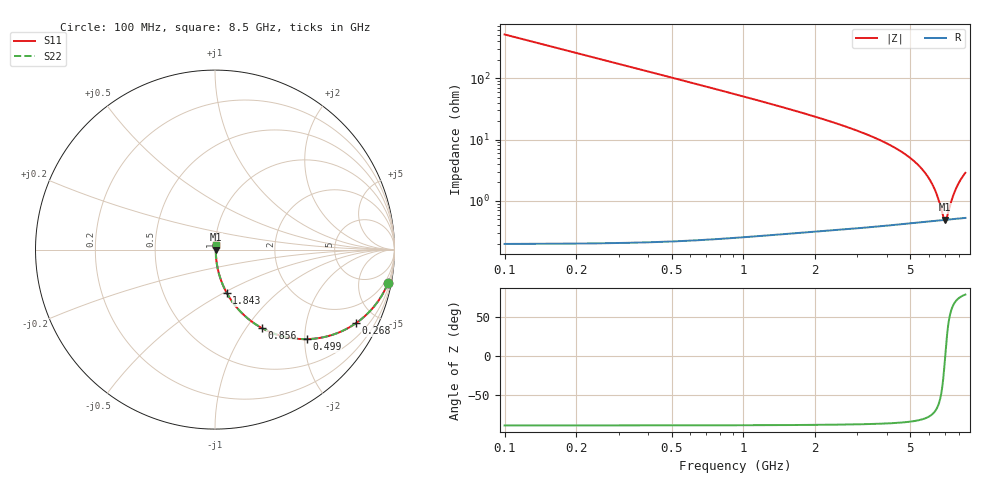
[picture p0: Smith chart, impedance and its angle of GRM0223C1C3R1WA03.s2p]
!Murata Part Number: GRM0223C1C3R1WA03
!These Parameters are Measured in Series Mode Connection
!Data Generated on Mar 30, 2021
!  o--ll--o
!Port1  Port2
!  o------o
!Operation Temp=25[degC], DC Bias Voltage=0[V]
!Freq. Start=100[MHz] Stop=9[GHz] 401[Steps]
# Hz S RI R 50
!Freq.(Hz) S11(Real) S11(Imag) S21(Real) S21(Imag) S12(Real) S12(Imag) S22(Real) S22(Imag)
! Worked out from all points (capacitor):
!   401 points, 100 MHz to 8.5 GHz, reference 50 ohm
!   read as one part in series: C = 3.1 pF near 142 MHz
!   lowest |Z| = 493 mohm at 6.988 GHz (marker M1)
!   series resonance near 6.997 GHz, so ESL is about 170 pH
!   S11 on the Smith chart (normalised r, x): 100 MHz: 1, -10; 268 MHz: 1.00, -3.83; 499 MHz: 1.00, -2.05; 856 MHz: 1.00, -1.18; 1.843 GHz: 1.01, -0.52; 8.5 GHz: 1.01, +0.06
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1e8  0.9634 -0.1877  0.0366 0.1877  0.0366 0.1877  0.9634 -0.1877
2.05e8  0.8621 -0.3444  0.1379 0.3444  0.1379 0.3444  0.8621 -0.3444
2.68e8  0.7851 -0.4102  0.2149 0.4102  0.2149 0.4102  0.7851 -0.4102
3.73e8  0.6529 -0.4753  0.3471 0.4753  0.3471 0.4753  0.6529 -0.4753
4.99e8  0.5114 -0.4988  0.4886 0.4988  0.4886 0.4988  0.5114 -0.4988
6.67e8  0.3678 -0.4807  0.6322 0.4807  0.6322 0.4807  0.3678 -0.4807
8.56e8  0.2591 -0.4361  0.7409 0.4361  0.7409 0.4361  0.2591 -0.4361
1.129e9  0.165 -0.3682  0.835 0.3682  0.835 0.3682  0.165 -0.3682
1.507e9  0.0971 -0.2917  0.9029 0.2917  0.9029 0.2917  0.0971 -0.2917
1.843e9  0.0651 -0.2408  0.9349 0.2408  0.9349 0.2408  0.0651 -0.2408
2.914e9  0.0239 -0.1408  0.9761 0.1408  0.9761 0.1408  0.0239 -0.1408
4.3e9  0.00939 -0.0727  0.9906 0.0727  0.9906 0.0727  0.00939 -0.0727
5.707e9  0.0054 -0.0295  0.9946 0.0295  0.9946 0.0295  0.0054 -0.0295
6.316e9  0.00493 -0.0147  0.9951 0.0147  0.9951 0.0147  0.00493 -0.0147
6.547e9  0.00487 -0.00954  0.9951 0.00954  0.9951 0.00954  0.00487 -0.00954
6.862e9  0.00487 -0.00279  0.9951 0.00279  0.9951 0.00279  0.00487 -0.00279
6.988e9  0.0049 -0.000186  0.9951 0.000186  0.9951 0.000186  0.0049 -0.000186
7.114e9  0.00494 0.00237  0.9951 -0.00237  0.9951 -0.00237  0.00494 0.00237
7.45e9  0.0051 0.00898  0.9949 -0.00898  0.9949 -0.00898  0.0051 0.00898
7.723e9  0.00529 0.0141  0.9947 -0.0141  0.9947 -0.0141  0.00529 0.0141
8.08e9  0.00559 0.0206  0.9944 -0.0206  0.9944 -0.0206  0.00559 0.0206
8.5e9  0.00604 0.0279  0.994 -0.0279  0.994 -0.0279  0.00604 0.0279
